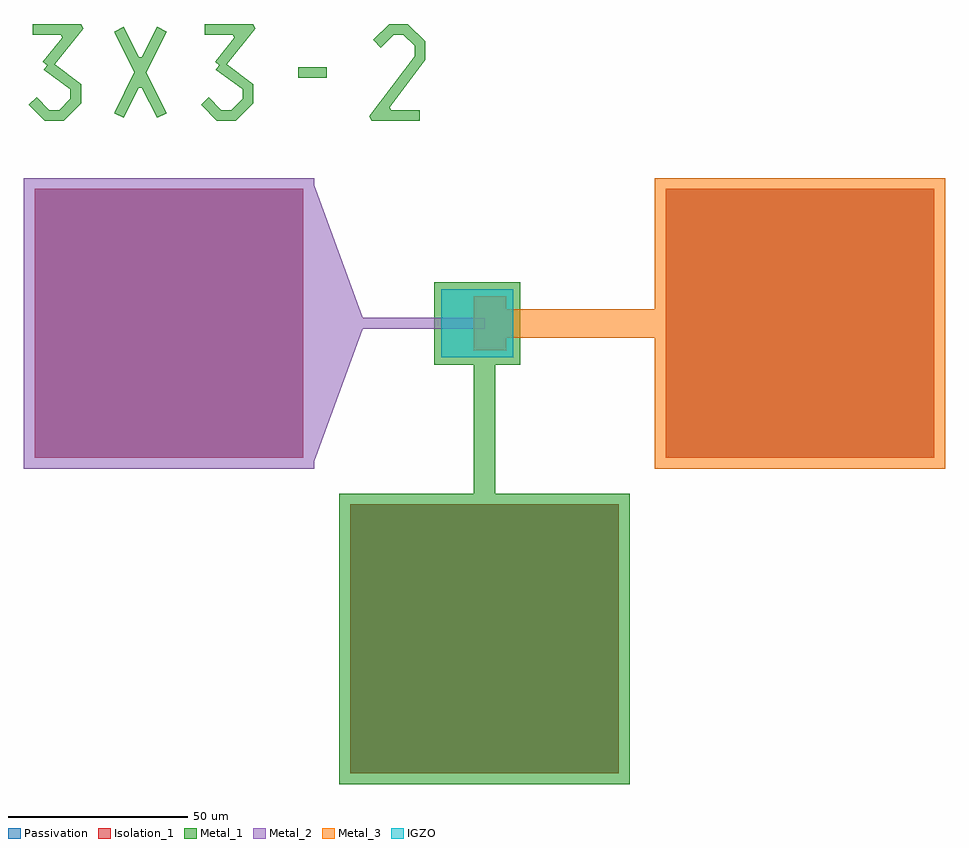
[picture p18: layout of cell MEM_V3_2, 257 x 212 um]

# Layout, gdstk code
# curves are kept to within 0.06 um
import gdstk
lib = gdstk.Library(unit=1e-6, precision=1e-09)
def R(c, l, rs):  # rectangles x0, y0, x1, y1
    for r in rs: c.add(gdstk.rectangle(r[:2], r[2:], *l))
def P(c, l, *ps):  # polygons
    for p in ps: c.add(gdstk.Polygon(p, *l))
Metal_1 = (1, 0)
Isolation_1 = (2, 0)
Metal_2 = (3, 0)
IGZO = (4, 0)
Metal_3 = (5, 0)
Passivation = (6, 0)

mem_v3_2 = lib.new_cell('MEM_V3_2')
R(mem_v3_2, Metal_1, [(87.5,-0.5,168.5,80.5), (76,196.5,84,199.5)])
P(mem_v3_2, Metal_1, [(88,0),(88,80),(125,80),(125,116.5),(114,116.5),(114,139.5),(138,139.5),(138,116.5),(131,116.5),(131,80),(168,80),(168,0)],
  [(96.499,184.5),(95.9,185.7),(108.5,202.5),(108.5,205.378),(105.378,208.5),(102.622,208.5),(99.061,204.939),(96.939,207.061),(101.378,211.5),(106.622,211.5),(111.5,206.622),(111.5,201.5),(101.6,188.3),(102,187.5),(110,187.5),(110,184.5)],
  [(5.378,184.5),(0.939,188.939),(3.061,191.061),(6.622,187.5),(9.378,187.5),(12.5,190.622),(12.5,193.25),(5.1,198.8),(5.999,200),(4.83,200.937),(10.204,207.656),(9.798,208.5),(2,208.5),(2,211.5),(15.5,211.5),(16.108,210.234),(8.158,200.297),(15.5,194.75),(15.5,189.378),(10.622,184.5)],
  [(53.378,184.5),(48.939,188.939),(51.061,191.061),(54.622,187.5),(57.378,187.5),(60.5,190.622),(60.5,193.25),(53.1,198.8),(53.999,200),(52.83,200.937),(58.204,207.656),(57.798,208.5),(50,208.5),(50,211.5),(63.5,211.5),(64.108,210.234),(56.158,200.297),(63.5,194.75),(63.5,189.378),(58.622,184.5)],
  [(27.342,185.328),(24.657,186.671),(30.322,198),(24.657,209.329),(27.342,210.672),(31.553,202.248),(32.447,202.248),(36.658,210.672),(39.343,209.329),(33.677,198),(39.343,186.671),(36.658,185.328),(32.447,193.752),(31.553,193.752)])
R(mem_v3_2, Isolation_1, [(90.5,2.5,165.5,77.5), (2.5,90.5,77.5,165.5), (178.5,90.5,253.5,165.5)])
R(mem_v3_2, Metal_2, [(-0.5,87.5,80.5,168.5), (0,88,80,168)])
P(mem_v3_2, Metal_2, [(80,88),(80,168),(94,129.5),(128,129.5),(128,126.5),(94,126.5)])
R(mem_v3_2, IGZO, [(116,118.5,136,137.5)])
R(mem_v3_2, Metal_3, [(175.5,87.5,256.5,168.5)])
P(mem_v3_2, Metal_3, [(176,88),(176,124),(134,124),(134,120.5),(125,120.5),(125,135.5),(134,135.5),(134,132),(176,132),(176,168),(256,168),(256,88)])
R(mem_v3_2, Passivation, [(90.5,2.5,165.5,77.5), (2.5,90.5,77.5,165.5), (178.5,90.5,253.5,165.5)])

lib.write_gds('MEM_V3_2.gds')
